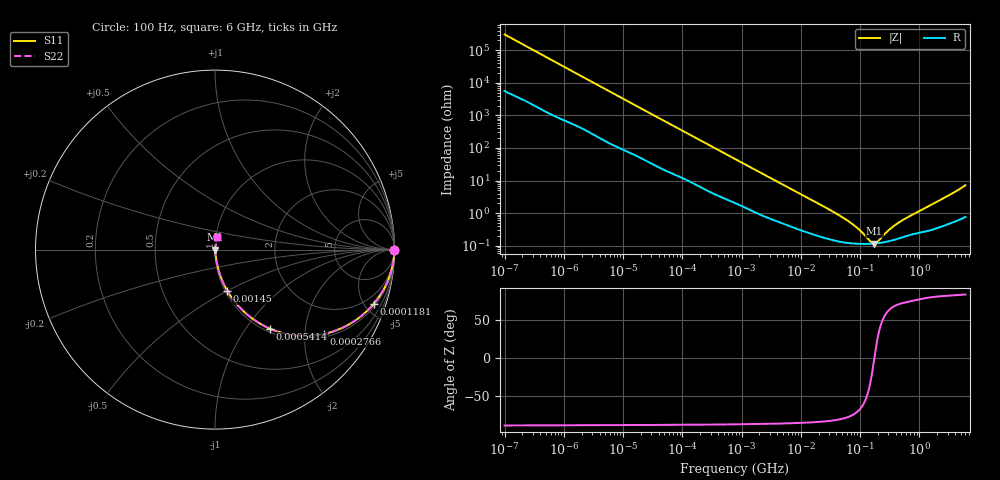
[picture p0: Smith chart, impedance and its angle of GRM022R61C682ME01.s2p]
!Murata Part Number: GRM022R61C682ME01
!These Parameters are Measured in Series Mode Connection
!Data Generated on Mar 30, 2021
!  o--ll--o
!Port1  Port2
!  o------o
!Operation Temp=25[degC], DC Bias Voltage=0[V]
!Freq. Start=100[Hz] Stop=6[GHz] 401[Steps]
# Hz S RI R 50
!Freq.(Hz) S11(Real) S11(Imag) S21(Real) S21(Imag) S12(Real) S12(Imag) S22(Real) S22(Imag)
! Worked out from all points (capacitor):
!   401 points, 100 Hz to 6 GHz, reference 50 ohm
!   read as one part in series: C = 5.23 nF near 109 Hz
!   lowest |Z| = 117 mohm at 174.6 MHz (marker M1)
!   series resonance near 174.3 MHz, so ESL is about 160 pH
!   S11 on the Smith chart (normalised r, x): 100 Hz: open; 118.1 kHz: 1.21, -5.75; 276.6 kHz: 1.09, -2.51; 541.4 kHz: 1.05, -1.30; 1.45 MHz: 1.02, -0.50; 6 GHz: 1.02, +0.14
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100  1 -0.00033  6.2e-06 0.00033  6.2e-06 0.00033  1 -0.00033
2008  0.9998 -0.00636  0.000202 0.00636  0.000202 0.00636  0.9998 -0.00636
12592  0.9974 -0.0386  0.00259 0.0386  0.00259 0.0386  0.9974 -0.0386
40335  0.982 -0.1186  0.018 0.1186  0.018 0.1186  0.982 -0.1186
75495  0.9456 -0.2105  0.0544 0.2105  0.0544 0.2105  0.9456 -0.2105
118133  0.8837 -0.303  0.1163 0.303  0.1163 0.303  0.8837 -0.303
176758  0.7822 -0.3947  0.2178 0.3947  0.2178 0.3947  0.7822 -0.3947
276587  0.6075 -0.47  0.3925 0.47  0.3925 0.47  0.6075 -0.47
378399  0.4614 -0.4795  0.5386 0.4795  0.5386 0.4795  0.4614 -0.4795
541393  0.3047 -0.4399  0.6953 0.4399  0.6953 0.4399  0.3047 -0.4399
774597  0.1848 -0.3663  0.8152 0.3663  0.8152 0.3663  0.1848 -0.3663
1449809  0.0686 -0.2297  0.9314 0.2297  0.9314 0.2297  0.0686 -0.2297
4060267  0.0137 -0.0899  0.9863 0.0899  0.9863 0.0899  0.0137 -0.0899
1.555665e7  0.00289 -0.0248  0.9971 0.0248  0.9971 0.0248  0.00289 -0.0248
6.518806e7  0.00123 -0.00536  0.9988 0.00536  0.9988 0.00536  0.00123 -0.00536
9.753859e7  0.00115 -0.00287  0.9988 0.00287  0.9988 0.00287  0.00115 -0.00287
1.526266e8  0.00115 -0.00062  0.9988 0.00062  0.9988 0.00062  0.00115 -0.00062
1.745687e8  0.00117 7.3e-06  0.9988 -7.3e-06  0.9988 -7.3e-06  0.00117 7.3e-06
1.996653e8  0.0012 0.000632  0.9988 -0.000632  0.9988 -0.000632  0.0012 0.000632
3.124326e8  0.00139 0.00282  0.9986 -0.00282  0.9986 -0.00282  0.00139 0.00282
5.59173e8  0.00194 0.00627  0.9981 -0.00627  0.9981 -0.00627  0.00194 0.00627
6e9  0.0126 0.07  0.9874 -0.07  0.9874 -0.07  0.0126 0.07
